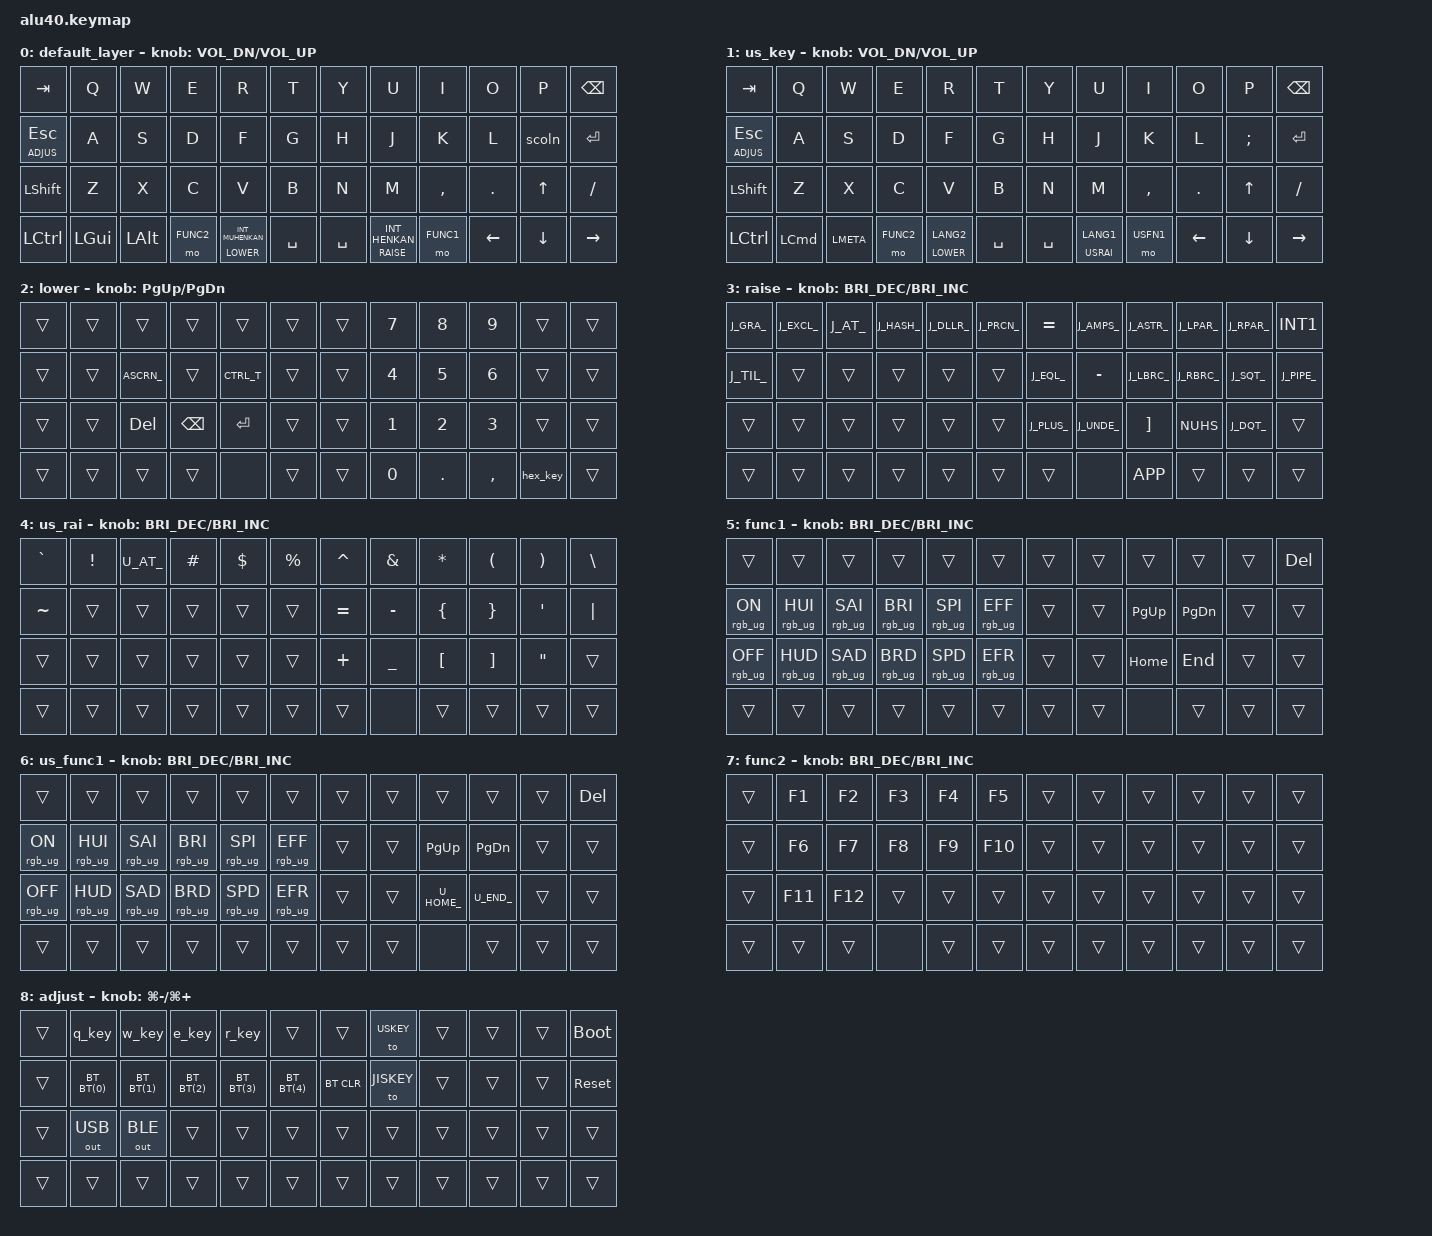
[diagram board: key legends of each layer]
/*
 * Copyright (c) 2022 The ZMK Contributors
 *
 * SPDX-License-Identifier: MIT
 */

#include <behaviors.dtsi>
#include <dt-bindings/zmk/keys.h>
#include <dt-bindings/zmk/bt.h>
#include <dt-bindings/zmk/rgb.h>
#include <dt-bindings/zmk/outputs.h>


#define BT(n) BT_SEL n

#define JISKEY 0
#define USKEY 1
#define LOWER 2
#define RAISE 3
#define USRAI 4
#define FUNC1 5
#define USFN1 6
#define FUNC2 7
#define ADJUS 8


#define __________	&trans
#define XXXXXXXXXX	&none

/* for JIS */
#define LO_MUHE		&lt LOWER INT_MUHENKAN
#define RA_HENK		&lt RAISE INT_HENKAN
/* for US */
#define LO_US		&lt LOWER LANG2
#define RA_US		&lt USRAI LANG1

#define ESC_ADJ 	&lt ADJUS ESC
//#define ASCRN		&kp LA(PSCRN)
#define ASCRN       &ASCRN_
#define TEAM_EDIT	&kp LS(LG(X))


#define J_KEY_MACRO(name,key)        ZMK_MACRO(name,    \
            wait-ms = <50>;                             \
            bindings =  <&macro_press &kp LSHFT>,       \
                        <&macro_press &kp key>,         \
                        <&macro_pause_for_release>,     \
                        <&macro_release &kp key>,       \
                        <&macro_release &kp LSHFT>;     \
        )

#define CTRL_KEY_MACRO(name,key)        ZMK_MACRO(name, \
            wait-ms = <50>;                             \
            bindings =  <&macro_press &kp LCTRL>,       \
                        <&macro_press &kp key>,         \
                        <&macro_pause_for_release>,     \
                        <&macro_release &kp key>,       \
                        <&macro_release &kp LCTRL>;     \
        )

#define ALT_KEY_MACRO(name,key)        ZMK_MACRO(name,  \
            wait-ms = <50>;                             \
            bindings =  <&macro_press &kp LALT>,        \
                        <&macro_press &kp key>,         \
                        <&macro_pause_for_release>,     \
                        <&macro_release &kp key>,       \
                        <&macro_release &kp LALT>;      \
        )

#define J_YEN		&kp INT_YEN		// ¥

//#define J_EXCL		&kp LS(N1)		// !

#define J_EXCL		&J_EXCL_		// !
//#define J_AT		&kp LBKT		// @
#define J_AT		&J_AT_   		// @
#define U_AT		&U_AT_   		// @
//#define J_HASH		&kp LS(N3)		// #
//#define J_DLLR		&kp LS(N4)		// $
//#define J_PRCN		&kp LS(N5)		// %
#define J_HASH		&J_HASH_		// #
#define J_DLLR		&J_DLLR_		// $
#define J_PRCN		&J_PRCN_		// %
#define J_CARE		&kp EQUAL		// ^
//#define J_AMPS		&kp LS(N6)		// &
//#define J_ASTR		&kp LS(SQT)		// *
//#define J_LPAR		&kp LS(N8)		// (
//#define J_RPAR		&kp LS(N9)		// )
#define J_AMPS		&J_AMPS_		// &
#define J_ASTR		&J_ASTR_		// *
#define J_LPAR		&J_LPAR_		// (
#define J_RPAR		&J_RPAR_		// )

//#define J_EQL		&kp LS(MINUS)	// =
//#define J_LBRC		&kp LS(RBKT)	// {
//#define J_RBRC		&kp LS(NUHS)	// }
//#define J_SQT		&kp LS(N7)		// '
#define J_EQL		&J_EQL_	// =
#define J_LBRC		&J_LBRC_	// {
#define J_RBRC		&J_RBRC_	// }
#define J_SQT		&J_SQT_		// '
#define J_BSLH		&kp INT1		// (backslash)
//#define J_PIPE		&kp LS(INT3)	// |
//#define J_PLUS		&kp LS(SEMI)	// +
//#define J_UNDE		&kp LS(INT1)	// _
#define J_PIPE		&J_PIPE_	// |
#define J_PLUS		&J_PLUS_	// +
#define J_UNDE		&J_UNDE_	// _
#define J_LBKT		&kp RBKT		// [
#define J_RBKT		&kp NUHS		// ]
//#define J_DQT		&kp LS(N2)		// "
#define J_DQT		&J_DQT_		// "

#define J_COLN		&kp SQT			// :

#define J_GRAV      &J_GRA_     // `
#define J_TILD      &J_TIL_     // ~

// RGB setting
#define D_RGB_ON    &rgb_ug RGB_ON
#define D_RGB_HUI   &rgb_ug RGB_HUI
#define D_RGB_SAI   &rgb_ug RGB_SAI
#define D_RGB_BRI   &rgb_ug RGB_BRI
#define D_RGB_SPI   &rgb_ug RGB_SPI
#define D_RGB_EFF   &rgb_ug RGB_EFF
#define D_RGB_OFF   &rgb_ug RGB_OFF
#define D_RGB_HUD   &rgb_ug RGB_HUD
#define D_RGB_SAD   &rgb_ug RGB_SAD
#define D_RGB_BRD   &rgb_ug RGB_BRD
#define D_RGB_SPD   &rgb_ug RGB_SPD
#define D_RGB_EFR   &rgb_ug RGB_EFR


&lt {  // layer-tap config
    flavor = "hold-preferred";
    tapping-term-ms = <100>;
    retro-tap;
};

/ {
    behaviors {

        scoln: mod_morph_scoln {
            compatible = "zmk,behavior-mod-morph";
            label = "MOD_MORPH_SCOLN";
            #binding-cells = <0>;
            bindings = <&kp SEMI>, <J_COLN>; // [sft ;] ─› [JP :]
            mods = <(MOD_LSFT|MOD_RSFT)>;
        };
    };
    
    macros {
        J_KEY_MACRO(J_EXCL_, N1)
        J_KEY_MACRO(J_HASH_, N3)
        J_KEY_MACRO(J_DLLR_, N4)
        J_KEY_MACRO(J_PRCN_, N5)
        J_KEY_MACRO(J_AMPS_, N6)
        J_KEY_MACRO(J_ASTR_, SQT)
        J_KEY_MACRO(J_LPAR_, N8)
        J_KEY_MACRO(J_RPAR_, N9)
        J_KEY_MACRO(J_EQL_, MINUS)
        J_KEY_MACRO(J_LBRC_, RBKT)
        J_KEY_MACRO(J_RBRC_, NUHS)
        J_KEY_MACRO(J_SQT_, N7)
        J_KEY_MACRO(J_PIPE_, INT3)
        J_KEY_MACRO(J_PLUS_, SEMI)
        J_KEY_MACRO(J_UNDE_, INT1)
        J_KEY_MACRO(J_DQT_, N2)
        J_KEY_MACRO(J_GRA_, LBRC)
        J_KEY_MACRO(J_TIL_, EQUAL)

        ZMK_MACRO(J_AT_,    \
            wait-ms = <50>;                             \
            bindings =  <&macro_tap &kp INT_MUHENKAN>,  \
                        <&macro_press &kp LBKT>,        \
                        <&macro_pause_for_release>,     \
                        <&macro_release &kp LBKT>;       \
        )
        ZMK_MACRO(U_AT_,    \
            wait-ms = <50>;                             \
            bindings =  <&macro_tap &kp LANG2>,         \
                        <&macro_press &kp AT>,          \
                        <&macro_pause_for_release>,     \
                        <&macro_release &kp AT>;        \
        )

        ZMK_MACRO(U_HOME_,    \
            wait-ms = <50>;                             \
            bindings =  <&macro_press &kp LCMD>,          \
                        <&macro_press &kp LEFT>,         \
                        <&macro_pause_for_release>,     \
                        <&macro_release &kp LEFT>,       \
                        <&macro_release &kp LCMD>;        \
        )

        ZMK_MACRO(U_END_,    \
            wait-ms = <50>;                             \
            bindings =  <&macro_press &kp LCMD>,          \
                        <&macro_press &kp RIGHT>,         \
                        <&macro_pause_for_release>,     \
                        <&macro_release &kp RIGHT>,       \
                        <&macro_release &kp LCMD>;        \
        )

        CTRL_KEY_MACRO(CTRL_T, T)

        ALT_KEY_MACRO(ASCRN_, PSCRN)

        q_key: q_list_key {
            label = "q_list_key";
            compatible = "zmk,behavior-macro";
            #binding-cells = <0>;
            bindings =
                <&kp N1>,
                <&kp Q>,
                <&kp A>,
                <&kp Z>;
        };
        w_key: w_list_key {
            label = "w_list_key";
            compatible = "zmk,behavior-macro";
            #binding-cells = <0>;
            bindings =
                <&kp N2>,
                <&kp W>,
                <&kp S>,
                <&kp X>;
        };
        e_key: e_list_key {
            label = "e_list_key";
            compatible = "zmk,behavior-macro";
            #binding-cells = <0>;
            bindings =
                <&kp N3>,
                <&kp E>,
                <&kp D>,
                <&kp C>;
        };
        r_key: r_list_key {
            label = "r_list_key";
            compatible = "zmk,behavior-macro";
            #binding-cells = <0>;
            bindings =
                <&macro_tap>,
                <&kp N4>,
                <&macro_tap>,
                <&kp R>,
                <&macro_tap>,
                <&kp F>,
                <&macro_tap>,
                <&kp V>;
        };
        hex_key: hex_key {
            label = "hex_key";
            compatible = "zmk,behavior-macro";
            #binding-cells = <0>;
            bindings =
                <&macro_tap>,
                <&kp N0>,
                <&macro_tap>,
                <&kp X>;
        };
    };

    keymap {
        compatible = "zmk,keymap";

        default_layer {
            // -----------------------------------------------------------------------------------------
            // | TAB   |  Q   |  W   |  E   |  R   |  T   |   Y   |  U    |  I   |  O   |   P   | BSPC  |
            // | ESC/AD|  A   |  S   |  D   |  F   |  G   |   H   |  J    |  K   |  L   |   ;   | ENTER |
            // | SHIFT |  Z   |  X   |  C   |  V   |  B   |   N   |  M    |  ,   |  .   |  UP   | /     |
            // | LCTL  | LGUI | LALT | FUNC2| LOWR |     SPACE    |  RAIS | FUNC1| LEFT | DOWN  | RIGHT |

            bindings = <
                &kp TAB    &kp Q      &kp W     &kp E     &kp R    &kp T      &kp Y      &kp U    &kp I      &kp O    &kp P     &kp BSPC
                ESC_ADJ    &kp A      &kp S     &kp D     &kp F    &kp G      &kp H      &kp J    &kp K      &kp L    &scoln    &kp RET
                &kp LSHFT  &kp Z      &kp X     &kp C     &kp V    &kp B      &kp N      &kp M    &kp COMMA  &kp DOT  &kp UP    &kp FSLH
                &kp LCTRL  &kp LGUI   &kp LALT  &mo FUNC2 LO_MUHE  &kp SPACE  &kp SPACE  RA_HENK  &mo FUNC1  &kp LEFT &kp DOWN  &kp RIGHT
            >;

            sensor-bindings = <&inc_dec_kp C_VOL_DN C_VOL_UP>;
        };

        us_key {
            // -----------------------------------------------------------------------------------------
            // | TAB   |  Q   |  W   |  E   |  R   |  T   |   Y   |  U    |  I   |  O   |   P   | BSPC  |
            // | ESC/AD|  A   |  S   |  D   |  F   |  G   |   H   |  J    |  K   |  L   |   ;   | ENTER |
            // | SHIFT |  Z   |  X   |  C   |  V   |  B   |   N   |  M    |  ,   |  .   |  UP   | /     |
            // | LCTL  | LGUI | LALT | FUNC2| LOWR |     SPACE    |  RAIS | FUNC1| LEFT | DOWN  | RIGHT |

            bindings = <
                &kp TAB    &kp Q      &kp W     &kp E     &kp R    &kp T      &kp Y      &kp U    &kp I      &kp O    &kp P     &kp BSPC
                ESC_ADJ    &kp A      &kp S     &kp D     &kp F    &kp G      &kp H      &kp J    &kp K      &kp L    &kp SEMI  &kp RET
                &kp LSHFT  &kp Z      &kp X     &kp C     &kp V    &kp B      &kp N      &kp M    &kp COMMA  &kp DOT  &kp UP    &kp FSLH
                &kp LCTRL  &kp LCMD   &kp LMETA &mo FUNC2 LO_US    &kp SPACE  &kp SPACE  RA_US    &mo USFN1  &kp LEFT &kp DOWN  &kp RIGHT
            >;

            sensor-bindings = <&inc_dec_kp C_VOL_DN C_VOL_UP>;
        };

        lower {
            bindings = <
				&trans     &trans     &trans     &trans     &trans     &trans     &trans     &kp N7     &kp N8     &kp N9     &trans     &trans
				&trans     &trans     ASCRN      &trans     &CTRL_T    &trans     &trans     &kp N4     &kp N5     &kp N6     &trans     &trans
				&trans     &trans     &kp DEL    &kp BSPC   &kp RET    &trans     &trans     &kp N1     &kp N2     &kp N3     &trans     &trans
                &trans     &trans     &trans     &trans     XXXXXXXXXX &trans     &trans     &kp N0     &kp DOT    &kp COMMA  &hex_key
                   &trans
            >;

            sensor-bindings = <&inc_dec_kp PG_UP PG_DN>;
        };

        raise {
            bindings = <
				J_GRAV     J_EXCL     J_AT       J_HASH     J_DLLR     J_PRCN     J_CARE     J_AMPS     J_ASTR     J_LPAR     J_RPAR     J_BSLH
				J_TILD     &trans     &trans     &trans     &trans     &trans     J_EQL      &kp MINUS  J_LBRC     J_RBRC     J_SQT      J_PIPE
				&trans     &trans     &trans     &trans     &trans     &trans     J_PLUS     J_UNDE     J_LBKT     J_RBKT     J_DQT      &trans
                &trans     &trans     &trans     &trans     &trans     &trans     &trans     XXXXXXXXXX &kp K_APP  &trans     &trans     &trans
            >;

            sensor-bindings = <&inc_dec_kp C_BRI_DEC C_BRI_INC>;
        };

        us_rai {
            bindings = <
				&kp GRAVE  &kp EXCL   U_AT       &kp HASH   &kp DLLR   &kp PRCNT  &kp CARET  &kp AMPS   &kp ASTRK  &kp LPAR   &kp RPAR   &kp BSLH
				&kp TILDE  &trans     &trans     &trans     &trans     &trans     &kp EQL    &kp MINUS  &kp LBRC   &kp RBRC   &kp SQT    &kp PIPE
				&trans     &trans     &trans     &trans     &trans     &trans     &kp PLUS   &kp UNDER  &kp LBKT   &kp RBKT   &kp DQT    &trans
                &trans     &trans     &trans     &trans     &trans     &trans     &trans     XXXXXXXXXX &trans     &trans     &trans     &trans
            >;

            sensor-bindings = <&inc_dec_kp C_BRI_DEC C_BRI_INC>;
        };

		func1 {
			// -------------------------------------------------------------------------------------------------------------------------------------
			// |          |          |          |          |          |          |          |          |          |          |          |          |
			bindings = <
				&trans     &trans     &trans     &trans     &trans     &trans     &trans     &trans     &trans     &trans     &trans     &kp DEL
				D_RGB_ON   D_RGB_HUI  D_RGB_SAI  D_RGB_BRI  D_RGB_SPI  D_RGB_EFF  &trans     &trans     &kp PG_UP  &kp PG_DN  &trans     &trans
				D_RGB_OFF  D_RGB_HUD  D_RGB_SAD  D_RGB_BRD  D_RGB_SPD  D_RGB_EFR  &trans     &trans     &kp HOME   &kp END    &trans     &trans
                &trans     &trans     &trans     &trans     &trans     &trans     &trans     &trans     XXXXXXXXXX &trans     &trans     &trans
			>;

            sensor-bindings = <&inc_dec_kp C_BRI_DEC C_BRI_INC>;
		};

		us_func1 {
			// -------------------------------------------------------------------------------------------------------------------------------------
			// |          |          |          |          |          |          |          |          |          |          |          |          |
			bindings = <
				&trans     &trans     &trans     &trans     &trans     &trans     &trans     &trans     &trans     &trans     &trans     &kp DEL
				D_RGB_ON   D_RGB_HUI  D_RGB_SAI  D_RGB_BRI  D_RGB_SPI  D_RGB_EFF  &trans     &trans     &kp PG_UP  &kp PG_DN  &trans     &trans
				D_RGB_OFF  D_RGB_HUD  D_RGB_SAD  D_RGB_BRD  D_RGB_SPD  D_RGB_EFR  &trans     &trans     &U_HOME_   &U_END_    &trans     &trans
                &trans     &trans     &trans     &trans     &trans     &trans     &trans     &trans     XXXXXXXXXX &trans     &trans     &trans
			>;

            sensor-bindings = <&inc_dec_kp C_BRI_DEC C_BRI_INC>;
		};

		func2 {
			// -------------------------------------------------------------------------------------------------------------------------------------
			// |          |          |          |          |          |          |          |          |          |          |          |          |
			bindings = <
				&trans     &kp F1     &kp F2     &kp F3     &kp F4     &kp F5     &trans     &trans     &trans     &trans     &trans     &trans
				&trans     &kp F6     &kp F7     &kp F8     &kp F9     &kp F10    &trans     &trans     &trans     &trans     &trans     &trans
				&trans     &kp F11    &kp F12    &trans     &trans     &trans     &trans     &trans     &trans     &trans     &trans     &trans
                &trans     &trans     &trans     XXXXXXXXXX &trans     &trans     &trans     &trans     &trans     &trans     &trans     &trans
			>;

            sensor-bindings = <&inc_dec_kp C_BRI_DEC C_BRI_INC>;
		};

        adjust {
            bindings = <
            // -------------------------------------------------------------------------------------------------------------------------------------
			// |          |          |          |          |          |          |          |          |          |          |          |          |

                &trans     &q_key     &w_key     &e_key     &r_key     &trans     &trans     &to USKEY  &trans     &trans     &trans     &bootloader
                &trans     &bt BT(0)  &bt BT(1)  &bt BT(2)  &bt BT(3)  &bt BT(4)  &bt BT_CLR &to JISKEY &trans     &trans     &trans     &sys_reset
                &trans     &out OUT_USB &out OUT_BLE &trans    &trans     &trans     &trans     &trans     &trans     &trans     &trans     &trans
                &trans     &trans     &trans     &trans     &trans     &trans     &trans     &trans     &trans     &trans     &trans     &trans
            >;

            sensor-bindings = <&inc_dec_kp LG(MINUS) LG(PLUS)>;
        };
    };
};
